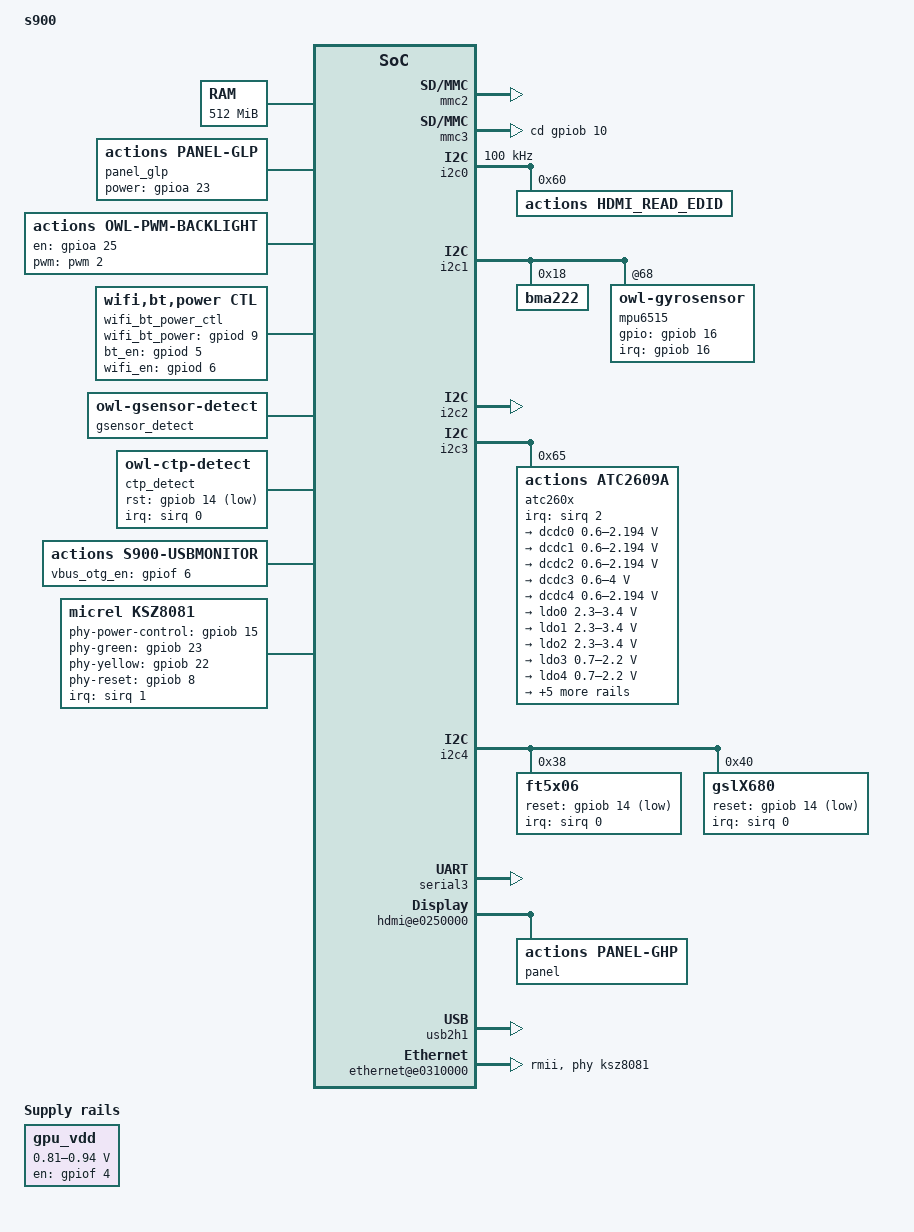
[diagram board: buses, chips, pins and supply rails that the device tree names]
/*
 * Copyright (C) 2014 Actions Semi. Inc
 *
 * This program is free software; you can redistribute it and/or
 * modify it under the terms of the GNU General Public License as
 * published by the Free Software Foundation version 2.
 *
 * This program is distributed "as is" WITHOUT ANY WARRANTY of any
 * kind, whether express or implied; without even the implied warranty
 * of MERCHANTABILITY or FITNESS FOR A PARTICULAR PURPOSE.  See the
 * GNU General Public License for more details.
 */

/dts-v1/;

/* reserve 48MB for logo(fb) */
/memreserve/ 0x19000000 0x03000000;

/* reserve 48MB for ion0(fb) */
/memreserve/ 0x1C000000 0x03000000;

/* reserve 512MB for ion1(pmem) */
/memreserve/ 0x20000000 0x20000000;

/* reserve 4k for afinfo */
/memreserve/ 0x18FFF000 0x1000;

#include "s900.dtsi"

/ {
	model = "s900";
	compatible = "actions,s900", "actions,s900-evb";

	chosen {
		bootargs="console=ttyS5,115200 earlyprintk=serial-owl,0xe012a000 no_console_suspend";
	};

	memory@00000000 {
		device_type = "memory";
		reg = <0 0x00000000 0 0x20000000>;
	};

	ion_config {
		compatible = "actions,s900-ion";
		actions,ion_heap_fb_base = <0x1c000000>;
		actions,ion_heap_fb_size = <0x03000000>;
		actions,ion_heap_pmem_base = <0x20000000>;
		actions,ion_heap_pmem_size = <0x20000000>;
	};

	mbr {
		compatible = "actions,mbr_table";
	};

	pinctrl@e01b0000 {
		pinctrl_i2c4: i2c4 {
			i2c4_mfp {
				actions,groups = "mfp3_8";
				actions,function = "i2c4";
			};

			i2c4_pull {
				actions,pins = "P_UART4_RX", "P_UART4_TX";
				actions,pull = <2>;
			};
		};
	};

	pwm: pwm@e01b0000 {
		pwm2 {
			id = <2>;
			pinctrl-names = "default";
			pinctrl-0 = <&pwm2_state_default>;
		};
	};

	mmc0: mmc@e0338000 {
		card-type = "emmc";
		status = "disabled";
	};

	mmc1: mmc@e033c000 {
		card-type = "emmc";
		status = "disabled";
	};

	mmc2: mmc@e0334000 {
		card-type = "wifi";
		wifi-card-voltage = "1.8v";  /* only: "1.8v", "3.1v" */
		status = "okay";
	};

	mmc3: mmc@e0330000 {
		card-type = "memory";  /* only: "memory", "wifi", or "emmc" */
		card-detect-mode = "gpio";  /* only: "sirq", "gpio", or "command" */
		cd-gpios = <&gpiob 10 0>; /*hr280ac GPIOB10 */
		sd_vcc = "ldo0";
		status = "okay";
	};

	i2c0: i2c@e0170000 {
		clock-frequency = <100000>;
		status = "okay";
		hdmi_read_edid@60 {
			compatible = "actions,hdmi_read_edid";
			reg = <0x60>;
		};
	};

	i2c1: i2c@e0172000 {
		status = "okay";
		bma222@18 {
			compatible = "bma222";
			reg = <0x18>;
			position = "-1";
			calibration = <0 0 0>;
		};

		mpu6515@68 {
			compatible = "owl-gyrosensor";
			interrupt-parent = <&gpiob>;
			interrupts = <16>;
			gpios = <&gpiob 16 0>; /* GPIOB16 */
			i2c_adapter_id = <1>;
			MASTER_inv6515_position = "-3";
			SECONDARY_ak8963c_position = "-4";
		};
	};

	i2c2: i2c@e0174000 {
		status = "okay";
	};

	i2c3: i2c@e0176000 {
		status = "okay";
		/* atc2609a (5303) */
		atc260x: atc2609a@65 {
			compatible = "actions,atc2609a","actions,atc260x";
			reg = <0x65>;
			interrupt-parent = <&sirq>;
			interrupts = <2>;
			interrupt-controller;
			#interrupt-cells = <1>;

			losc_32k_output_enable = <1>;    /* enable/disable output 32.768K clock via AUXIN1 pin */

			pm {
				compatible = "actions,atc2609a-pm";
			};

			onoff {
				compatible = "actions,atc2609a-onoff";
			};

			rtc{
				compatible = "actions,atc2609a-rtc";
			};

			atc260x_gpio{
				compatible = "actions,atc2609a-gpio";
			};

			atc260x-adckeypad{
#define KEY_HOME				102
#define KEY_MENU				139
#define KEY_BACK				158
#define KEY_VOLUMEDOWN				114
#define KEY_VOLUMEUP				115
				keymapsize = <2>;                   /* number of ADC key */
				filter_dep = <3>;                   /* depth of the moving average filter (length of filter queue) */
				variance = <15>;                    /* filter will not output until the difference between every two ADC samples in the filter queue goes below this value */
				poll_interval =  <20>;              /* sample period, in ms */
				left_adc_val =  <0 3300>;           /* for key code translator, each value defines a lower bound of ADC value of a key */
				right_adc_val = <100 3700>;          /* for key code translator, each value defines a upper bound of ADC value of a key */
				key_val = <KEY_VOLUMEUP KEY_VOLUMEDOWN>; /* for key code translator, each value defines the key_code of a key */
				adc_channel_name = "REMCON";          /* the ADC channel used for sampling, valid names are REMCON AUX0 AUX1 AUX2 (AUX3) */
				compatible = "actions,atc2609a-adckeypad";
				key_check_mode = <1>;              /*  0:  GPIO key;  1:  ADC key   */
			};

			/*the cfg params must be read	in the first installed ko,
			 now snd-soc-atv5302.ko is first installed.
			 1, earphone_detect_level use the third value of earphone_gpios
			 2, commonly, we shouldn't change the value of speaker_gain and earphone_gain*/

			atc260x-audio{
				compatible = "actions,atc2609a-audio";
				status = "okay";
                                pinctrl-names = "default";
                                pinctrl-0 = <&i2s0_state_default>;
				clocks = <&clock CLK_AUDIO_PLL>, <&clock CLK_HDMI_AUDIO>;
				clock-names = "audio_pll", "hdmia";
				earphone_detect_gpios = <&gpiob 11 0>; /*0: high, 1: low hr280ac GPIOB11 0*/
				speaker_en_gpios = <&gpioa 19 1>; /*hr280ac GPIOA(19) 0: high, 1: low*/
				earphone_output_mode = <0>; /*0: direct mode, 1: undirect mode*/
				mic_num = <1>; /*just suport 1, 2*/
				mic0_gain = < 0x7 0x7 >; /*<Lchannel,Rchannel> [0x0~0xF]*/
				speaker_gain = < 0xaa 0xaa >; /*<Lchannel,Rchannel>[0x00~0xbebe]*/
				earphone_gain = < 0xbe 0xbe >; /*<Lchannel,Rchannel>[0x00~0xbebe]*/
				speaker_volume = < 0x28 0x28 >; /*volume [0x00~0x28]*/
				earphone_volume = < 0x28 0x28 >; /*volume [0x00~0x28]*/
				earphone_detect_mode = <0>;  /*0: polling,   1: interrupt*/
			};

			atc260x-hwmon{
				compatible = "actions,atc2609a-hwmon";
			};

			atc260x-charger{
				compatible = "actions,atc2609a-charger";
				rsense = <20>;/*unit:mohm*/
				bat_type = <1>;/*0:4.18v; 1:4.2v; 2:4.3v; 3:4.35v*/
				bl_on_current_usb_pc = <300>;
				bl_off_current_usb_pc = <500>;
				bl_on_current_usb_adp = <300>;
				bl_off_current_usb_adp = <800>;
				bl_on_current_wall_adp = <300>;
				bl_off_current_wall_adp = <1500>;
				support_adaptor_type = <3>; /*1: DCIN  2: USB  3:DCIN+USB*/
				ext_charger = <0>;
				usb_adapter_as_ac = <1>;/*0:usb ada keep itself; 1:usb ada used as DCIN when usb plug and batv<3.3v during minicharge*/
				usb_pc_ctl_mode = <1>; /*0:disable vbus ctl;1:current limited;2:voltage limited*/
			};

			atc2609a-battery{
				compatible = "actions,atc2609a-battery";
				ocv_table = <2972 3603 3683 3689 3715 3738 3765 3767 3796 3825 3872 3930 3981 4053 4118 4197>;/*mv*/
				r_table = <99 99 86 83 82 81 84 86 82 82 96 105 92 86 81 80>;/*mohm*/
				design_capacity = <7000>;/*unit:mAh*/
				taper_vol = <4180>;/*unit:mv*/
				taper_cur = <300>;/*unit:ma*/
				term_vol = <3400>;/*unit:mv*/
				ov_protect = <4275>;/*unit:mv*/
				sleep_current = <15000>;/*unit:ua*/
				shutdown_current = <50>;/*unit:ua*/
				boot_cap_threshold = <3>;
				bl_on_vol = <3300>;/*unit:mv*/
				print_switch = <0>;
				log_switch = <1>;
			};

			/* DCDC0       VDD_CORE
			 * DCDC1       VDD_CPU
			 * DCDC2       VDDR
			 * DCDC3       VCC
			 * DCDC4       VDD_CPUM
			 */
			dcdc0: dcdc0 {
				compatible = "actions,atc2609a-dcdc0","actions,atc2609a-dcdc";
				regulator-name = "dcdc0";
				regulator-min-microvolt = <600000>;
				regulator-max-microvolt = <2193750>;
				regulator-always-on;
			};

			dcdc1: dcdc1 {
				compatible = "actions,atc2609a-dcdc1","actions,atc2609a-dcdc";
				regulator-name = "dcdc1";
				regulator-min-microvolt = <600000>;
				regulator-max-microvolt = <2193750>;
				regulator-always-on;
			};

			dcdc2: dcdc2 {
				compatible = "actions,atc2609a-dcdc2","actions,atc2609a-dcdc";
				regulator-name = "dcdc2";
				regulator-min-microvolt = <600000>;
				regulator-max-microvolt = <2193750>;
				regulator-always-on;
			};

			dcdc3: dcdc3 {
				compatible = "actions,atc2609a-dcdc3","actions,atc2609a-dcdc";
				regulator-name = "dcdc3";
				regulator-min-microvolt = <600000>;
				regulator-max-microvolt = <4000000>;
				regulator-always-on;
			};

			dcdc4: dcdc4 {
				compatible = "actions,atc2609a-dcdc4","actions,atc2609a-dcdc";
				regulator-name = "dcdc4";
				regulator-min-microvolt = <600000>;
				regulator-max-microvolt = <2193750>;
				regulator-always-on;
			};

			/* LDO0        SD_VCC     3.1v
			 * LDO1        SENS_AVDD  2.8v
			 * LDO2        AVCC       3.1v
			 * LDO3        5303_VDD   1.0v
			 * LDO4        AVCC_1V8   1.8v
			 * LDO5
			 * LDO6        AVDD_1V0   1.0v
			 * LDO7        SENS_DVDD  1.8v
			 * LDO8        TP_VCC     3.1v
			 * LDO9        RTC_VDD    3.1v   */

			ldo0: ldo0{
				compatible = "actions,atc2609a-ldo0","actions,atc2609a-ldo";
				regulator-name = "ldo0";
				regulator-min-microvolt  = <2300000>;
				regulator-max-microvolt = <3400000>;
				regulator-always-on;
			};

			ldo1: ldo1{
				compatible = "actions,atc2609a-ldo1","actions,atc2609a-ldo";
				regulator-name = "ldo1";
				regulator-min-microvolt  = <2300000>;
				regulator-max-microvolt = <3400000>;
				regulator-always-on;
				regulator-suspend-off;
			};

			ldo2: ldo2{
				compatible = "actions,atc2609a-ldo2","actions,atc2609a-ldo";
				regulator-name = "ldo2";
				regulator-min-microvolt  = <2300000>;
				regulator-max-microvolt = <3400000>;
				regulator-always-on;
			};

			ldo3: ldo3{
				compatible = "actions,atc2609a-ldo3","actions,atc2609a-ldo";
				regulator-name = "ldo3";
				regulator-min-microvolt  = <700000>;
				regulator-max-microvolt = <2200000>;
				regulator-always-on;
			};

			ldo4: ldo4{
				compatible = "actions,atc2609a-ldo4","actions,atc2609a-ldo";
				regulator-name = "ldo4";
				regulator-min-microvolt  = <700000>;
				regulator-max-microvolt = <2200000>;
				regulator-always-on;
			};

			ldo5: ldo5{
				compatible = "actions,atc2609a-ldo5","actions,atc2609a-ldo";
				regulator-name = "ldo5";
				regulator-min-microvolt  = <700000>;
				regulator-max-microvolt = <2200000>;
			};

			ldo6: ldo6{
				compatible = "actions,atc2609a-ldo6","actions,atc2609a-ldo";
				regulator-name = "ldo6";
				regulator-min-microvolt  = <850000>;
				regulator-max-microvolt = <2200000>;
				regulator-always-on;
			};

			ldo7: ldo7{
				compatible = "actions,atc2609a-ldo7","actions,atc2609a-ldo";
				regulator-name = "ldo7";
				regulator-min-microvolt  = <700000>;
				regulator-max-microvolt = <2200000>;
				regulator-always-on;
				regulator-suspend-off;
			};

			ldo8: ldo8{
				compatible = "actions,atc2609a-ldo8","actions,atc2609a-ldo";
				regulator-name = "ldo8";
				regulator-min-microvolt  = <2100000>;
				regulator-max-microvolt = <3300000>;
			};

			ldo9: ldo9{
				compatible = "actions,atc2609a-ldo9","actions,atc2609a-ldo";
				regulator-name = "ldo9";
				regulator-min-microvolt  = <2600000>;
				regulator-max-microvolt = <3300000>;
				regulator-always-on;
			};
		};
	};

	i2c4: i2c@e0178000 {
		pinctrl-names = "default";
		pinctrl-0 = <&pinctrl_i2c4>;
		status = "okay";

		ft5x06@38 {
			compatible = "ft5x06";
			reg = <0x38>;
			tp_vcc = "ldo8";
			reset_gpios = <&gpiob 14 1>; /*GPIOB(14) 0: high, 1: low*/
			x_pixel = <800>;
			y_pixel = <1280>;
			x_revert_en = <1>;
			y_revert_en = <0>;
			xy_swap_en = <1>;
			rotate_degree = <0>;  /* 0 90 180 270 */
			interrupt-parent = <&sirq>;
			interrupts = < 0 0x4 >; /*SIRQ0*/
			vol_range = <3100000 3110000>;
		};

		gslX680@40 {
			compatible = "gslX680";
			reg = <0x40>;
			tp_vcc = "ldo8";
			reset_gpios = <&gpiob 14 1>;/*GPIOB(14) 0: high, 1: low*/
			x_pixel = <1536>;
			y_pixel = <2048>;
			x_revert_en = <0>;
			y_revert_en = <1>;
			xy_swap_en = <0>;
			rotate_degree = <0>;     /* 0 90 180 270 */
			interrupt-parent = <&sirq>;
			interrupts = < 0 0x4 >; /*SIRQ0*/
			vol_range = <3100000 3110000>;
		};
	};

	serial3: uart@e0126000 {
		dmas = <&dma DMA_DRQ_UART3_TX>, <&dma DMA_DRQ_UART3_RX>;
		dma-names = "tx", "rx";
		status = "okay";
	};

	isp0: isp@e0270000 {
		mirror_flip = <3>;  /* bit-0:rear camera; bit-1:front camera; 0: no flip,no mirror; 1: no flip,horizontal mirror; 2:vertical flip,no mirror; 3: vertical flip,horizontal mirror */

		avdd-src = "gpio";  /* only: "gpio", "regulator" */
		avdd-gpios = <&gpioa 18 1>; /* GPIOA18 */

		board_type = "evb";/* "ces" or "evb"*/
		sensors = "dual"; /* "dual", "front" or "rear" */
		pwdn-rear-gpios = <&gpioa 27 1>; /* GPIOA27 */
		pwdn-front-gpios = <&gpioa 26 1>; /* GPIOA26 */
		reset-gpios = <&gpiof 2 1>; /*GPIOF2*/

		pinctrl-names = "default";
		pinctrl-0 = <&mipi_csi0_state_default>, <&mipi_csi1_state_default>;

		status = "okay"; /* create platform-device */
	};

	sensors: isp-sensor {
		compatible = "sensor_common";
		i2c_adapter = <&i2c2>; /* 0-3 begin from enabled ones */

		status = "disabled";
	};

	edp: edp@e02e0000 {
		status = "disabled";	
	};

	lcd: lcd@e02a0000 {
		compatible = "actions,s900-lcd", "simple-bus";
		reg = <0 0xe02a0000 0 0x208>;
		power-domains = <&powergate POWER_DOMAIN_DE>;
		clocks = <&clock CLK_LCD>;
		clock-names = "lcd";
		resets = <&reset RESET_LCD0>;
		pinctrl-names = "default";
		pinctrl-0 = <&lvds_state_default>;
		reg-names = "regs";
		panel_configs = <&config0>;
		
		/* 
		 * lcd_configs, used to configure lcd controller,
		 * its values should set according to lcd panel's spec.
		 * Currently, the configration is for fpga panel.
		 */
		config0: lcd_configs {
			port_type = <2>;	/* 0, RGB; 1, CPU; 2, LVDS; 3, EDP */

			vsync_inversion = <0>;
			hsync_inversion = <0>;
			dclk_inversion = <1>;
			lde_inversion = <0>;

			pclk_parent = <0>;	/* 0, DISPLAY PLL; 1, NAND PLL */
			pclk_rate = <66000000>;/* 66MHz, DISPLAY PLL, divider 16 */
		};

		/* lcd panel */
		panel_glp: lcd_panel {
			compatible = "actions,panel-glp";

			/* panel's fixed info */
			width_mm = <197>;
			height_mm = <147>;
			bpp = <24>;

			is_primary = <1>;

			/* operation delay in ms */
			power_on_delay = <0>;
			power_off_delay = <0>;
			enable_delay = <0>;
			disable_delay = <0>;

			power-gpio = <&gpioa 23 0>;/* GPIOA23, low power on */

			videomode-0 = <&mode0>;

			/* 800x1280p60 */
			mode0: videomode {
				refresh_rate = <60>;

				xres = <800>;
				yres = <1280>;

				/* 
				 * pclk_rate = 66M
				 * pixel_clock = picoseconds / pclk_rate
				 */
				pixel_clock = <15152>;

				hsw = <12>;
				hbp = <20>;
				hfp = <40>;

				vsw = <2>;
				vbp = <10>;
				vfp = <33>;

				/* 0: FB_VMODE_NONINTERLACED, 1:FB_VMODE_INTERLACED */
				vmode = <0>;
			};
		};
	};

	backlight {
		compatible = "actions,owl-pwm-backlight";

		/* GPIOA25, active high */
		en-gpios = <&gpioa 25 0>;

		/*1.pwm num; 2. period in ns; */
		/*3.plarity, 0: high active, 1: low active*/
		pwms = <&pwm 2 50000 0>;

		total_steps = <1024>;
		min_brightness = <100>;
		max_brightness = <1000>;
		dft_brightness = <500>;

		delay_bf_pwm = <0>; /*in ms*/
		delay_af_pwm = <200>; /*in ms*/
	};

	wifi_bt_power_ctl {
		compatible = "wifi,bt,power,ctl";
		//bt_power_gpio = <&gpioa 16 0>;/*GPIOA20, high active*/   /*BT_WAKE*/
		wifi_bt_power_gpios = <&gpiod 9 0>; /*  GPIOd9 */
		bt_en_gpios = <&gpiod 5 0>;/*GPIOd5, high active*/  /*M3305 A17 reset pin*/
		wifi_en_gpios = <&gpiod 6 0>; /* GPIOd6*/
	};

	hdmi@e0250000 {
		tmds-avdd-supply = <&ldo4>;

		hdcp_onoff = <0>;
		channel_invert = <0>;
		bit_invert = <0>;

		panel@ghp {
			compatible = "actions,panel-ghp";

			is_primary = <0>;
		};
	};

	gsensor_detect {
		compatible = "owl-gsensor-detect";
		i2c_adapter_id = <1>;
		gsensor_detect_list {
			compatible = "gsensor_detect_list";
			afa750 =  <0>;
			bma220 =  <0>;
			bma222 =  <1>;
			bma250 =  <0>;
			dmard10 = <0>;
			kxtj9 =   <0>;
			lis3dh =  <0>;
			mc3210 =  <0>;
			mc3232 =  <0>;
			mc3236 =  <0>;
			mma7660 = <0>;
			mma8452 = <0>;
			stk8312 = <0>;
			stk8313 = <0>;
			mpu6515 = <1>;
		};
	};

	ctp_detect {
		compatible = "owl-ctp-detect";
		i2c_adapter_id = <4>;
		tp_vcc = "ldo8";
		rst_gpios = <&gpiob 14 1>;    /*GPIOB(14) 0: high, 1: low*/
		interrupt-parent = <&sirq>;
		interrupts = <0>; /*SIRQ0*/
		vol_range = <3100000 3110000>;

		ctp_detect_list {
			compatible = "ctp_detect_list";
			ICN83XX =  <0>;
			GSLX6X0 =  <1>;
			FT52-406 = <0>;
			FT5606 =   <0>;
			GT813 =    <0>;
			AW5206 =   <0>;
			AW5209 =   <0>;
			CT36X =    <0>;
			HL3X06 =   <0>;
			ILITEK =   <0>;
			ili2672 =  <0>;
			ft5x06 =   <0>;
			MT395 =    <0>;
			NT1100X =  <0>;
			SSD254X =  <0>;
	   };
	};

	monitor {
		compatible = "actions,s900-usbmonitor";
		detect_type = <3>; /* config what to detect, 0:DISABLE ; 1:DEVICE_ONLY; 2:HOST_ONLY; 3: HOST_AND_DEVICE*/
		idpin_type   = <0>; /* 0:use ic's idpin;      1:soft idpin,##no support!##;       2:gpio idpin,use gpio to detect,need to add a "idpin_gpio" configuration */
		vbus_type   = <2>; /* 0:use ic's vbuspin; 1:gpio vbus,##no support!## ;      2:use dc5v to detect vbus level*/

		/*vbus_otg_en_gpio is use to turn on/off otg vbus,it's different from vbus detect gpio;*/
		vbus_otg_en_gpios = <&gpiof 6 0>;  /* GPIOF6,  1: low active; 0: high active */
		//idpin_gpio = <&gpiob 31 1>;   /*if idpin detect by gpio,config the gpio to GPIOB31, input,0: low active; 1: high active*/
		status = "okay";
	};

	owl_usb_config {
		compatible = "actions,owl-usb-config";
		usb_serialnumber_config = <1>; /* config serialnumber string format, 0: fixed serial no in ascii format; 1: fixed serial no in unicode format; 2:non-fixed serial no in unicode format*/
		usb_hs_output_strength = <3>; /*defaut:3,range:0~7; 0:min,7:max;usb high speed(2.0)transmitter output strength*/
		status = "okay";
	};

 	usb2h0: usb@e02b0000 {
		vbus_otg_en_gpio = <&gpiob 17 0>; /*GPIO B17 1:high enable vubs,0:low enable vbus*/
		status = "disabled";
	};

	usb2h1: usb@e02c0000 {
		vbus_otg_en_gpio =<&gpiof 7 0>; /*GPIO F7 1:high enable vubs,0:low enable vbus*/
		port_host_plug_detect = <1>; /*0:disable 1:enable detect and vbus contrl 2:only detect 3:enalbe detect and usb1&usb2 use the same gpio*/
		status = "okay";
	};

	ksz8081: ksz8081{
		compatible = "micrel,ksz8081";
		interrupt-parent = <&sirq>; 
        interrupts = <1>; /*SIRQ1*/ 
		phy-power-gpios = "ldo1";
		phy-power-control-gpios = <&gpiob 15 0>;
		phy-green-gpios = <&gpiob 23 0>;
		phy-yellow-gpios = <&gpiob 22 0>;
		phy-reset-gpios = <&gpiob 8 0>;  /* phy reset pin 1: low level active  0: high level active */
	};

	ethernet@e0310000 {
		address-bits = <48>;
		local-mac-address = [ 00 18 fe 66 66 66 ];
		max-frame-size = <1518>;		
		phy-mode = "rmii";  
		phy-handle = <&ksz8081>;
		phy_addr = <1>;		
		status = "okay";
	};

	gpu_vdd: gpio-regulator {
	   compatible = "regulator-gpio";

	   regulator-name = "gpu-gpio-supply";
	   regulator-type = "voltage";
	   regulator-min-microvolt = <810000>;
	   regulator-max-microvolt = <940000>;

	   enable-gpio = <&gpiof 4 0x4>;	// GPIOF4
	   gpios = <&gpioa 24 0x4>;
	   states = <810000 0x1
	   	     940000 0x0>;

	   startup-delay-us = <2000>;
	   enable-active-high;
	};

	gpu@e0600000 {
		gpu-supply = <&gpu_vdd>;

		// frequency table: frequency(Hz), voltage(uV), down_threshold(%), up_threshold(%)
		clock-rates {
			core = <352000000 940000 0 100>;
			mem  = <352000000 940000 0 100>;
		};
	};
};
